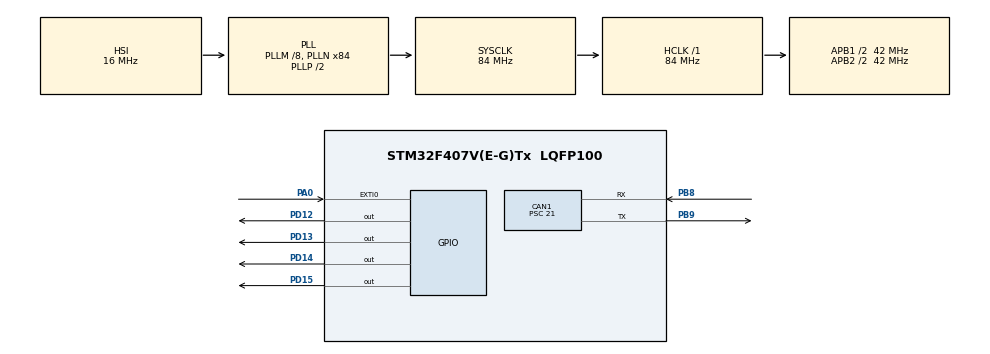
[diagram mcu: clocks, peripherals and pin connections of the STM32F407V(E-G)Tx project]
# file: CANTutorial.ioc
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CAN1.BS1=CAN_BS1_2TQ
CAN1.CalculateBaudRate=500000
CAN1.CalculateTimeBit=2000.00
CAN1.CalculateTimeQuantum=500.0
CAN1.Prescaler=21
CAN1.SJW=CAN_SJW_1TQ
Mcu.Family=STM32F4
Mcu.Name=STM32F407V(E-G)Tx
Mcu.Package=LQFP100
NVIC.CAN1_RX0_IRQn=true\:0\:2\:false\:false\:true\:true\:true
NVIC.EXTI0_IRQn=true\:0\:1\:false\:false\:true\:true\:true
NVIC.PriorityGroup=NVIC_PRIORITYGROUP_0
PA0-WKUP.Signal=GPXTI0
PB8.Mode=CAN_Activate
PB8.Signal=CAN1_RX
PB9.Mode=CAN_Activate
PB9.Signal=CAN1_TX
PD12.Signal=GPIO_Output
PD13.Signal=GPIO_Output
PD14.Signal=GPIO_Output
PD15.Signal=GPIO_Output
PH0-OSC_IN.Mode=HSE-External-Oscillator
PH0-OSC_IN.Signal=RCC_OSC_IN
PH1-OSC_OUT.Mode=HSE-External-Oscillator
PH1-OSC_OUT.Signal=RCC_OSC_OUT
ProjectManager.HeapSize=0x200
ProjectManager.StackSize=0x400
ProjectManager.TargetToolchain=MDK-ARM V5
RCC.48MHZClocksFreq_Value=24000000
RCC.AHBFreq_Value=84000000
RCC.APB1CLKDivider=RCC_HCLK_DIV2
RCC.APB1Freq_Value=42000000
RCC.APB1TimFreq_Value=84000000
RCC.APB2CLKDivider=RCC_HCLK_DIV2
RCC.APB2Freq_Value=42000000
RCC.APB2TimFreq_Value=84000000
RCC.CortexFreq_Value=84000000
RCC.HCLKFreq_Value=84000000
RCC.HSE_VALUE=8000000
RCC.HSI_VALUE=16000000
RCC.LSE_VALUE=32768
RCC.PLLM=8
RCC.PLLN=84
RCC.PLLQ=7
RCC.SYSCLKFreq_VALUE=84000000
RCC.SYSCLKSource=RCC_SYSCLKSOURCE_PLLCLK
RCC.VCOOutputFreq_Value=168000000
board=STM32F407G-DISC1

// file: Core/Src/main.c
/* USER CODE BEGIN Header */
/**
  ******************************************************************************
  * @file           : main.c
  * @brief          : Main program body
  ******************************************************************************
  * @attention
  *
  * <h2><center>&copy; Copyright (c) 2021 STMicroelectronics.
  * All rights reserved.</center></h2>
  *
  * This software component is licensed by ST under BSD 3-Clause license,
  * the "License"; You may not use this file except in compliance with the
  * License. You may obtain a copy of the License at:
  *                        opensource.org/licenses/BSD-3-Clause
  *
  ******************************************************************************
  */
/* USER CODE END Header */
#include "main.h"

CAN_HandleTypeDef hcan1;

/* USER CODE BEGIN PV */
// Tx Rx Msg Structure/Typedef
CanTxMsgTypeDef myTxMsg;
CanRxMsgTypeDef myRxMsg;

//IDs
uint16_t OwnID = 0x123;
uint16_t RemoteID = 0x123;
uint8_t myLEDVar = 0;

/* USER CODE END PV */

void SystemClock_Config(void);
static void MX_GPIO_Init(void);
static void MX_CAN1_Init(void);
/* USER CODE BEGIN PFP */

void CAN_filterConfig(void);

void LED_Switch(uint8_t led);
/* USER CODE END PFP */

int main(void)
{

  /* MCU Configuration--------------------------------------------------------*/

  /* Reset of all peripherals, Initializes the Flash interface and the Systick. */
  HAL_Init();

  /* Configure the system clock */
  SystemClock_Config();

  /* Initialize all configured peripherals */
  MX_GPIO_Init();
  MX_CAN1_Init();
  /* USER CODE BEGIN 2 */
	//CAN filter Config
	CAN_filterConfig();

	//Start CAN IT recieve
	HAL_CAN_Receive_IT(&hcan1, CAN_FIFO0);

	// Set Transmit Parameters
	hcan1.pTxMsg->IDE = CAN_ID_STD;
	hcan1.pTxMsg->StdId = OwnID;
	hcan1.pTxMsg->RTR = CAN_RTR_DATA;
	hcan1.pTxMsg->DLC = 2;

  /* USER CODE END 2 */

  /* Infinite loop */
  while (1)
  {

    /* USER CODE BEGIN 3 */
		if(HAL_GPIO_ReadPin(GPIOA, GPIO_PIN_0))
		{
			//Transmit CAN
			if(myLEDVar == 4) myLEDVar = 0;
			LED_Switch(++myLEDVar);

			hcan1.pTxMsg->Data[0] = myLEDVar;
			hcan1.pTxMsg->Data[1] = 0x00;

			HAL_CAN_Transmit(&hcan1, 20);

			HAL_Delay(200);
		}

  }
  /* USER CODE END 3 */
}

void SystemClock_Config(void)
{
  RCC_OscInitTypeDef RCC_OscInitStruct = {0};
  RCC_ClkInitTypeDef RCC_ClkInitStruct = {0};

  /** Configure the main internal regulator output voltage
  */
  __HAL_RCC_PWR_CLK_ENABLE();
  __HAL_PWR_VOLTAGESCALING_CONFIG(PWR_REGULATOR_VOLTAGE_SCALE1);
  /** Initializes the RCC Oscillators according to the specified parameters
  * in the RCC_OscInitTypeDef structure.
  */
  RCC_OscInitStruct.OscillatorType = RCC_OSCILLATORTYPE_HSI;
  RCC_OscInitStruct.HSIState = RCC_HSI_ON;
  RCC_OscInitStruct.HSICalibrationValue = RCC_HSICALIBRATION_DEFAULT;
  RCC_OscInitStruct.PLL.PLLState = RCC_PLL_ON;
  RCC_OscInitStruct.PLL.PLLSource = RCC_PLLSOURCE_HSI;
  RCC_OscInitStruct.PLL.PLLM = 8;
  RCC_OscInitStruct.PLL.PLLN = 84;
  RCC_OscInitStruct.PLL.PLLP = RCC_PLLP_DIV2;
  RCC_OscInitStruct.PLL.PLLQ = 7;
  if (HAL_RCC_OscConfig(&RCC_OscInitStruct) != HAL_OK)
  {
    Error_Handler();
  }
  /** Initializes the CPU, AHB and APB buses clocks
  */
  RCC_ClkInitStruct.ClockType = RCC_CLOCKTYPE_HCLK|RCC_CLOCKTYPE_SYSCLK
                              |RCC_CLOCKTYPE_PCLK1|RCC_CLOCKTYPE_PCLK2;
  RCC_ClkInitStruct.SYSCLKSource = RCC_SYSCLKSOURCE_PLLCLK;
  RCC_ClkInitStruct.AHBCLKDivider = RCC_SYSCLK_DIV1;
  RCC_ClkInitStruct.APB1CLKDivider = RCC_HCLK_DIV2;
  RCC_ClkInitStruct.APB2CLKDivider = RCC_HCLK_DIV2;

  if (HAL_RCC_ClockConfig(&RCC_ClkInitStruct, FLASH_LATENCY_2) != HAL_OK)
  {
    Error_Handler();
  }
}

static void MX_CAN1_Init(void)
{

  /* USER CODE BEGIN CAN1_Init 0 */

	hcan1.pTxMsg = &myTxMsg;
	hcan1.pRxMsg = &myRxMsg;

  /* USER CODE END CAN1_Init 0 */

  hcan1.Instance = CAN1;
  hcan1.Init.Prescaler = 21;
  hcan1.Init.Mode = CAN_MODE_NORMAL;
  hcan1.Init.SJW = CAN_SJW_1TQ;
  hcan1.Init.BS1 = CAN_BS1_2TQ;
  hcan1.Init.BS2 = CAN_BS2_1TQ;
  hcan1.Init.TTCM = DISABLE;
  hcan1.Init.ABOM = DISABLE;
  hcan1.Init.AWUM = DISABLE;
  hcan1.Init.NART = DISABLE;
  hcan1.Init.RFLM = DISABLE;
  hcan1.Init.TXFP = DISABLE;
  if (HAL_CAN_Init(&hcan1) != HAL_OK)
  {
    Error_Handler();
  }

}

static void MX_GPIO_Init(void)
{
  GPIO_InitTypeDef GPIO_InitStruct = {0};

  /* GPIO Ports Clock Enable */
  __HAL_RCC_GPIOH_CLK_ENABLE();
  __HAL_RCC_GPIOA_CLK_ENABLE();
  __HAL_RCC_GPIOD_CLK_ENABLE();
  __HAL_RCC_GPIOB_CLK_ENABLE();

  /*Configure GPIO pin Output Level */
  HAL_GPIO_WritePin(GPIOD, GPIO_PIN_12|GPIO_PIN_13|GPIO_PIN_14|GPIO_PIN_15, GPIO_PIN_RESET);

  /*Configure GPIO pin : PA0 */
  GPIO_InitStruct.Pin = GPIO_PIN_0;
  GPIO_InitStruct.Mode = GPIO_MODE_IT_RISING;
  GPIO_InitStruct.Pull = GPIO_NOPULL;
  HAL_GPIO_Init(GPIOA, &GPIO_InitStruct);

  /*Configure GPIO pins : PD12 PD13 PD14 PD15 */
  GPIO_InitStruct.Pin = GPIO_PIN_12|GPIO_PIN_13|GPIO_PIN_14|GPIO_PIN_15;
  GPIO_InitStruct.Mode = GPIO_MODE_OUTPUT_PP;
  GPIO_InitStruct.Pull = GPIO_NOPULL;
  GPIO_InitStruct.Speed = GPIO_SPEED_FREQ_LOW;
  HAL_GPIO_Init(GPIOD, &GPIO_InitStruct);

  /* EXTI interrupt init*/
  HAL_NVIC_SetPriority(EXTI0_IRQn, 0, 1);
  HAL_NVIC_EnableIRQ(EXTI0_IRQn);

}

/* USER CODE BEGIN 4 */
void CAN_filterConfig(void)
{
	CAN_FilterConfTypeDef filterConfig;
	filterConfig.BankNumber = 14;
	filterConfig.FilterActivation = ENABLE;
	filterConfig.FilterFIFOAssignment = 0;
	filterConfig.FilterIdHigh = 0x0000;
	filterConfig.FilterIdLow = 0x0000;
	filterConfig.FilterMaskIdHigh = 0x0000;
	filterConfig.FilterMaskIdLow = 0x0000;
	filterConfig.FilterMode = CAN_FILTERMODE_IDMASK;
	filterConfig.FilterNumber = 0;
	filterConfig.FilterScale = CAN_FILTERSCALE_32BIT;

	HAL_CAN_ConfigFilter(&hcan1, &filterConfig);
}

void LED_Switch(uint8_t led)
{
	/* Turn off all LEDs */
	HAL_GPIO_WritePin(GPIOD, GPIO_PIN_12, GPIO_PIN_RESET);
	HAL_GPIO_WritePin(GPIOD, GPIO_PIN_13, GPIO_PIN_RESET);
	HAL_GPIO_WritePin(GPIOD, GPIO_PIN_14, GPIO_PIN_RESET);
	HAL_GPIO_WritePin(GPIOD, GPIO_PIN_15, GPIO_PIN_RESET);

	  switch(led)
  {
    case(1):
      HAL_GPIO_WritePin(GPIOD, GPIO_PIN_12, GPIO_PIN_SET);
      break;

    case(2):
      HAL_GPIO_WritePin(GPIOD, GPIO_PIN_13, GPIO_PIN_SET);
      break;

    case(3):
      HAL_GPIO_WritePin(GPIOD, GPIO_PIN_14, GPIO_PIN_SET);
      break;

    case(4):
      HAL_GPIO_WritePin(GPIOD, GPIO_PIN_15, GPIO_PIN_SET);
      break;

    default:
      break;
  }
}

void HAL_CAN_RxCpltCallback(CAN_HandleTypeDef* hcan)
{
  if(hcan->pRxMsg->StdId == RemoteID)
	{
		myLEDVar = hcan->pRxMsg->Data[0];
		LED_Switch(myLEDVar);
	}

	//Start Listening again
	HAL_CAN_Receive_IT(&hcan1, CAN_FIFO0);
}
/* USER CODE END 4 */

void Error_Handler(void)
{
  __disable_irq();
  while (1)
  {
  }
}

/************************ (C) COPYRIGHT STMicroelectronics *****END OF FILE****/
